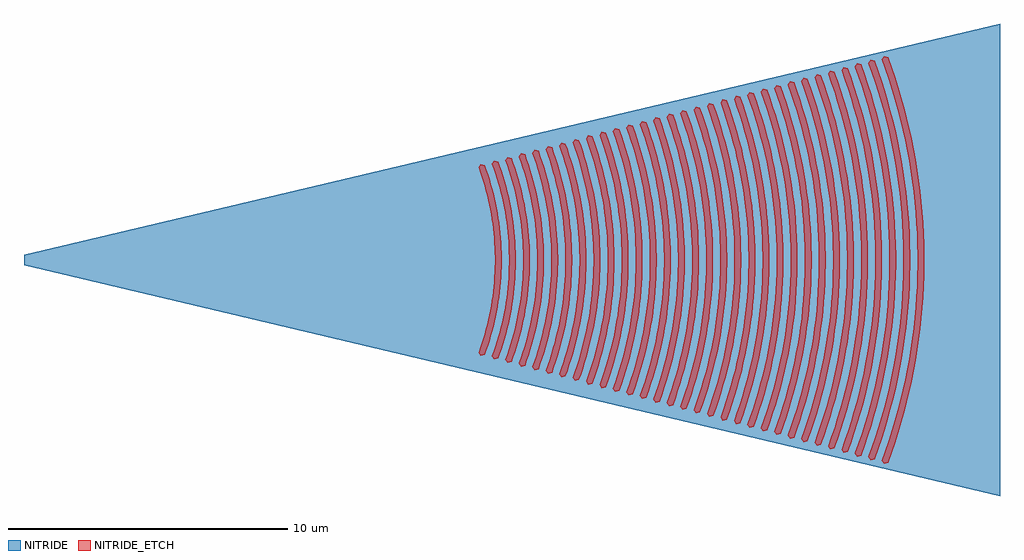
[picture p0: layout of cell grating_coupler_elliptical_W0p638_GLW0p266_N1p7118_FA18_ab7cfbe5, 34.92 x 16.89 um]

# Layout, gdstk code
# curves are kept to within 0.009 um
import gdstk
lib = gdstk.Library(unit=1e-6, precision=1e-09)
def P(c, l, *ps):  # polygons
    for p in ps: c.add(gdstk.Polygon(p, *l))
NITRIDE = (203, 0)
NITRIDE_ETCH = (204, 0)

grating_coupler_elliptic = lib.new_cell('grating_coupler_elliptical_W0p638_GLW0p266_N1p7118_FA18_ab7cfbe5')
P(grating_coupler_elliptic, NITRIDE, [(31.053,-8.447),(-3.867,-0.18),(-3.867,0.18),(31.053,8.447)])
P(grating_coupler_elliptic, NITRIDE_ETCH, [(12.48,-3.425),(12.395,-3.31),(12.612,-2.649),(12.701,-2.315),(12.813,-1.807),(12.897,-1.294),(12.938,-0.95),(12.966,-0.606),(12.985,-0.087),(12.966,0.606),(12.897,1.294),(12.813,1.807),(12.701,2.315),(12.562,2.815),(12.395,3.31),(12.48,3.425),(12.619,3.39),(12.79,2.885),(12.973,2.198),(13.078,1.676),(13.155,1.15),(13.204,0.62),(13.223,0.089),(13.213,-0.443),(13.174,-0.974),(13.108,-1.501),(13.011,-2.026),(12.84,-2.715),(12.619,-3.39)],
  [(12.962,-3.554),(12.877,-3.439),(12.995,-3.097),(13.149,-2.578),(13.275,-2.054),(13.343,-1.7),(13.44,-0.987),(13.479,-0.45),(13.489,-0.09),(13.469,0.628),(13.398,1.344),(13.31,1.876),(13.195,2.404),(13.049,2.925),(12.877,3.439),(12.962,3.554),(13.101,3.519),(13.277,2.995),(13.468,2.282),(13.577,1.74),(13.657,1.194),(13.707,0.644),(13.727,0.092),(13.717,-0.46),(13.676,-1.011),(13.607,-1.558),(13.507,-2.102),(13.329,-2.818),(13.101,-3.519)],
  [(13.444,-3.683),(13.358,-3.568),(13.537,-3.035),(13.688,-2.494),(13.771,-2.131),(13.871,-1.58),(13.958,-0.838),(13.993,-0.093),(13.972,0.652),(13.898,1.395),(13.807,1.948),(13.688,2.494),(13.537,3.035),(13.358,3.568),(13.444,3.683),(13.582,3.648),(13.765,3.105),(13.963,2.365),(14.075,1.804),(14.158,1.238),(14.21,0.668),(14.231,0.095),(14.22,-0.476),(14.178,-1.048),(14.107,-1.616),(14.003,-2.179),(13.819,-2.921),(13.582,-3.648)],
  [(13.924,-3.812),(13.839,-3.697),(13.966,-3.329),(14.132,-2.772),(14.267,-2.207),(14.371,-1.637),(14.461,-0.869),(14.497,-0.097),(14.486,0.483),(14.461,0.869),(14.371,1.637),(14.267,2.207),(14.132,2.772),(13.966,3.329),(13.839,3.697),(13.924,3.812),(14.063,3.777),(14.252,3.214),(14.457,2.45),(14.574,1.868),(14.659,1.281),(14.713,0.691),(14.735,0.099),(14.724,-0.493),(14.681,-1.085),(14.607,-1.673),(14.499,-2.257),(14.308,-3.024),(14.063,-3.777)],
  [(14.405,-3.94),(14.32,-3.825),(14.452,-3.445),(14.623,-2.868),(14.763,-2.285),(14.87,-1.694),(14.964,-0.899),(15.001,-0.1),(14.979,0.699),(14.947,1.098),(14.87,1.694),(14.763,2.285),(14.623,2.868),(14.452,3.445),(14.32,3.825),(14.405,3.94),(14.544,3.905),(14.74,3.324),(14.952,2.533),(15.072,1.931),(15.161,1.325),(15.217,0.715),(15.239,0.102),(15.228,-0.51),(15.183,-1.122),(15.106,-1.73),(14.995,-2.333),(14.798,-3.128),(14.544,-3.905)],
  [(14.886,-4.069),(14.801,-3.954),(14.999,-3.364),(15.166,-2.764),(15.259,-2.362),(15.37,-1.751),(15.467,-0.929),(15.505,-0.103),(15.482,0.724),(15.449,1.135),(15.37,1.751),(15.259,2.362),(15.166,2.764),(14.999,3.364),(14.801,3.954),(14.886,4.069),(15.025,4.034),(15.287,3.231),(15.491,2.41),(15.606,1.787),(15.685,1.159),(15.72,0.738),(15.743,0.105),(15.731,-0.527),(15.685,-1.159),(15.606,-1.787),(15.491,-2.41),(15.287,-3.231),(15.025,-4.034)],
  [(15.367,-4.198),(15.282,-4.083),(15.487,-3.473),(15.659,-2.855),(15.797,-2.229),(15.869,-1.808),(15.97,-0.959),(16.009,-0.107),(16.005,0.32),(15.97,0.959),(15.869,1.808),(15.797,2.229),(15.659,2.855),(15.487,3.473),(15.282,4.083),(15.367,4.198),(15.506,4.163),(15.776,3.334),(15.987,2.488),(16.105,1.844),(16.164,1.412),(16.223,0.761),(16.247,0.109),(16.243,-0.326),(16.208,-0.979),(16.136,-1.628),(16.031,-2.273),(15.835,-3.124),(15.579,-3.958),(15.506,-4.163)],
  [(15.848,-4.327),(15.763,-4.212),(15.908,-3.793),(16.097,-3.158),(16.251,-2.515),(16.369,-1.865),(16.472,-0.989),(16.512,-0.11),(16.488,0.77),(16.453,1.209),(16.369,1.865),(16.251,2.515),(16.097,3.158),(15.908,3.793),(15.763,4.212),(15.848,4.327),(15.987,4.292),(16.266,3.437),(16.483,2.565),(16.605,1.901),(16.665,1.456),(16.726,0.786),(16.75,0.112),(16.738,-0.561),(16.689,-1.233),(16.605,-1.901),(16.483,-2.565),(16.266,-3.437),(15.987,-4.292)],
  [(16.329,-4.456),(16.244,-4.341),(16.462,-3.692),(16.645,-3.035),(16.747,-2.593),(16.869,-1.922),(16.931,-1.472),(16.975,-1.02),(17.016,-0.114),(16.992,0.793),(16.931,1.472),(16.869,1.922),(16.747,2.593),(16.645,3.035),(16.462,3.692),(16.244,4.341),(16.329,4.456),(16.468,4.421),(16.755,3.54),(16.979,2.641),(17.105,1.958),(17.167,1.5),(17.23,0.809),(17.254,0.116),(17.242,-0.577),(17.213,-1.04),(17.138,-1.729),(17.025,-2.414),(16.818,-3.317),(16.62,-3.983),(16.468,-4.421)],
  [(16.81,-4.585),(16.725,-4.47),(16.949,-3.802),(17.138,-3.125),(17.289,-2.44),(17.368,-1.979),(17.478,-1.05),(17.508,-0.584),(17.52,-0.117),(17.495,0.817),(17.458,1.283),(17.368,1.979),(17.289,2.44),(17.138,3.125),(16.949,3.802),(16.725,4.47),(16.81,4.585),(16.949,4.55),(17.029,4.326),(17.309,3.414),(17.475,2.718),(17.604,2.015),(17.694,1.307),(17.746,0.594),(17.758,0.119),(17.746,-0.594),(17.716,-1.07),(17.638,-1.779),(17.523,-2.484),(17.309,-3.414),(17.029,-4.326),(16.949,-4.55)],
  [(17.291,-4.714),(17.206,-4.599),(17.437,-3.912),(17.631,-3.215),(17.739,-2.746),(17.868,-2.036),(17.981,-1.08),(18.024,-0.12),(18.02,0.361),(17.981,1.08),(17.868,2.036),(17.739,2.746),(17.631,3.215),(17.437,3.912),(17.206,4.599),(17.291,4.714),(17.43,4.679),(17.512,4.448),(17.665,3.982),(17.8,3.51),(17.971,2.794),(18.104,2.072),(18.196,1.344),(18.236,0.855),(18.262,0.122),(18.258,-0.367),(18.219,-1.1),(18.139,-1.83),(18.02,-2.555),(17.919,-3.035),(17.8,-3.51),(17.591,-4.216),(17.43,-4.679)],
  [(17.772,-4.842),(17.687,-4.727),(17.85,-4.258),(18.062,-3.545),(18.235,-2.822),(18.328,-2.337),(18.462,-1.357),(18.515,-0.618),(18.528,-0.124),(18.524,0.371),(18.501,0.864),(18.462,1.357),(18.367,2.093),(18.235,2.822),(18.062,3.545),(17.85,4.258),(17.687,4.727),(17.772,4.842),(17.911,4.807),(17.995,4.571),(18.153,4.091),(18.292,3.607),(18.467,2.872),(18.603,2.129),(18.671,1.631),(18.739,0.88),(18.766,0.126),(18.762,-0.377),(18.721,-1.131),(18.639,-1.88),(18.517,-2.625),(18.292,-3.607),(18.076,-4.332),(17.911,-4.807)],
  [(18.253,-4.971),(18.168,-4.856),(18.335,-4.374),(18.553,-3.642),(18.731,-2.9),(18.827,-2.401),(18.964,-1.394),(19.019,-0.635),(19.032,-0.127),(19.028,0.381),(19.005,0.887),(18.964,1.394),(18.867,2.15),(18.731,2.9),(18.617,3.395),(18.412,4.131),(18.168,4.856),(18.253,4.971),(18.392,4.936),(18.479,4.693),(18.64,4.201),(18.783,3.704),(18.963,2.948),(19.103,2.186),(19.2,1.418),(19.243,0.903),(19.27,0.129),(19.257,-0.645),(19.224,-1.161),(19.14,-1.931),(19.014,-2.696),(18.908,-3.202),(18.783,-3.704),(18.561,-4.448),(18.392,-4.936)],
  [(18.734,-5.1),(18.649,-4.985),(18.9,-4.241),(19.11,-3.485),(19.227,-2.976),(19.367,-2.207),(19.438,-1.69),(19.489,-1.171),(19.522,-0.652),(19.536,-0.13),(19.532,0.391),(19.508,0.912),(19.438,1.69),(19.367,2.207),(19.227,2.976),(19.11,3.485),(18.9,4.241),(18.649,4.985),(18.734,5.1),(18.873,5.065),(18.962,4.816),(19.203,4.056),(19.34,3.543),(19.459,3.026),(19.603,2.243),(19.674,1.718),(19.746,0.926),(19.774,0.132),(19.77,-0.397),(19.727,-1.191),(19.641,-1.981),(19.512,-2.765),(19.402,-3.285),(19.274,-3.8),(19.047,-4.564),(18.873,-5.065)],
  [(19.215,-5.229),(19.13,-5.114),(19.306,-4.606),(19.535,-3.835),(19.723,-3.054),(19.824,-2.528),(19.905,-1.999),(19.968,-1.468),(20.026,-0.667),(20.04,-0.134),(20.036,0.401),(19.992,1.201),(19.939,1.734),(19.866,2.264),(19.723,3.054),(19.603,3.575),(19.387,4.35),(19.13,5.114),(19.215,5.229),(19.354,5.194),(19.445,4.938),(19.615,4.42),(19.765,3.897),(19.955,3.102),(20.058,2.568),(20.175,1.762),(20.249,0.951),(20.278,0.136),(20.274,-0.407),(20.23,-1.221),(20.141,-2.031),(20.009,-2.836),(19.897,-3.369),(19.765,-3.897),(19.532,-4.68),(19.354,-5.194)],
  [(19.696,-5.358),(19.611,-5.243),(19.792,-4.722),(20.027,-3.932),(20.219,-3.13),(20.322,-2.592),(20.406,-2.05),(20.47,-1.505),(20.529,-0.685),(20.544,-0.137),(20.539,0.411),(20.514,0.958),(20.441,1.778),(20.366,2.321),(20.219,3.13),(20.027,3.932),(19.792,4.722),(19.611,5.243),(19.696,5.358),(19.835,5.323),(19.929,5.061),(20.103,4.53),(20.257,3.994),(20.451,3.18),(20.602,2.357),(20.677,1.806),(20.752,0.974),(20.782,0.139),(20.777,-0.417),(20.732,-1.252),(20.642,-2.082),(20.506,-2.906),(20.327,-3.724),(20.182,-4.262),(20.018,-4.796),(19.835,-5.323)],
  [(20.177,-5.487),(20.092,-5.372),(20.277,-4.838),(20.518,-4.028),(20.715,-3.207),(20.821,-2.656),(20.906,-2.1),(20.973,-1.542),(21.033,-0.702),(21.048,-0.14),(21.043,0.421),(21.018,0.982),(20.973,1.542),(20.865,2.378),(20.715,3.207),(20.589,3.756),(20.362,4.569),(20.092,5.372),(20.177,5.487),(20.316,5.452),(20.412,5.183),(20.59,4.639),(20.748,4.09),(20.947,3.257),(21.101,2.414),(21.209,1.566),(21.256,0.998),(21.286,0.142),(21.271,-0.712),(21.235,-1.282),(21.142,-2.132),(21.004,-2.976),(20.886,-3.536),(20.748,-4.09),(20.503,-4.912),(20.316,-5.452)],
  [(20.658,-5.616),(20.573,-5.501),(20.763,-4.954),(21.009,-4.125),(21.211,-3.284),(21.319,-2.719),(21.407,-2.15),(21.475,-1.579),(21.537,-0.719),(21.552,-0.144),(21.547,0.431),(21.521,1.005),(21.475,1.579),(21.365,2.435),(21.211,3.284),(21.009,4.125),(20.763,4.954),(20.573,5.501),(20.658,5.616),(20.797,5.581),(20.895,5.306),(21.078,4.749),(21.239,4.187),(21.443,3.334),(21.601,2.471),(21.711,1.603),(21.775,0.729),(21.79,0.146),(21.775,-0.729),(21.738,-1.312),(21.643,-2.182),(21.501,-3.047),(21.313,-3.904),(21.16,-4.469),(20.989,-5.028),(20.797,-5.581)],
  [(21.139,-5.744),(21.054,-5.629),(21.248,-5.07),(21.5,-4.221),(21.707,-3.362),(21.818,-2.783),(21.907,-2.201),(21.977,-1.616),(22.04,-0.736),(22.056,-0.147),(22.051,0.442),(22.003,1.323),(21.945,1.909),(21.865,2.492),(21.707,3.362),(21.575,3.936),(21.337,4.789),(21.054,5.629),(21.139,5.744),(21.278,5.709),(21.378,5.428),(21.65,4.572),(21.805,3.994),(21.939,3.41),(22.101,2.528),(22.181,1.937),(22.262,1.044),(22.294,0.149),(22.289,-0.448),(22.241,-1.343),(22.143,-2.233),(21.998,-3.117),(21.805,-3.994),(21.65,-4.572),(21.474,-5.144),(21.278,-5.709)],
  [(21.621,-5.873),(21.536,-5.758),(21.734,-5.186),(21.992,-4.318),(22.203,-3.438),(22.316,-2.847),(22.408,-2.251),(22.479,-1.653),(22.544,-0.752),(22.56,-0.151),(22.555,0.452),(22.506,1.353),(22.446,1.952),(22.364,2.549),(22.203,3.438),(21.992,4.318),(21.734,5.186),(21.536,5.758),(21.621,5.873),(21.76,5.838),(21.862,5.551),(22.053,4.968),(22.222,4.38),(22.435,3.488),(22.6,2.585),(22.715,1.677),(22.782,0.764),(22.798,0.153),(22.793,-0.458),(22.744,-1.373),(22.644,-2.283),(22.496,-3.187),(22.299,-4.084),(22.139,-4.675),(21.96,-5.26),(21.76,-5.838)],
  [(22.102,-6.002),(22.017,-5.887),(22.219,-5.302),(22.483,-4.415),(22.699,-3.515),(22.815,-2.911),(22.909,-2.302),(22.981,-1.69),(23.031,-1.077),(23.064,-0.154),(23.059,0.462),(23.031,1.077),(22.948,1.996),(22.864,2.607),(22.699,3.515),(22.561,4.116),(22.312,5.008),(22.017,5.887),(22.102,6.002),(22.241,5.967),(22.345,5.673),(22.54,5.078),(22.713,4.477),(22.931,3.565),(23.1,2.643),(23.184,2.024),(23.269,1.091),(23.302,0.156),(23.297,-0.468),(23.246,-1.403),(23.145,-2.334),(22.993,-3.258),(22.864,-3.87),(22.713,-4.477),(22.445,-5.376),(22.241,-5.967)],
  [(22.583,-6.131),(22.498,-6.016),(22.8,-5.118),(22.974,-4.511),(23.195,-3.592),(23.313,-2.974),(23.409,-2.352),(23.483,-1.727),(23.534,-1.1),(23.568,-0.157),(23.563,0.472),(23.534,1.1),(23.449,2.04),(23.363,2.664),(23.195,3.592),(23.054,4.206),(22.8,5.118),(22.498,6.016),(22.583,6.131),(22.722,6.096),(22.828,5.796),(23.028,5.188),(23.204,4.573),(23.427,3.642),(23.599,2.7),(23.685,2.068),(23.772,1.116),(23.806,0.159),(23.801,-0.478),(23.749,-1.433),(23.645,-2.384),(23.49,-3.328),(23.284,-4.264),(23.118,-4.881),(22.931,-5.492),(22.722,-6.096)],
  [(23.064,-6.26),(22.979,-6.145),(23.19,-5.534),(23.465,-4.608),(23.691,-3.67),(23.812,-3.038),(23.91,-2.402),(23.986,-1.764),(24.055,-0.803),(24.072,-0.161),(24.055,0.803),(24.014,1.444),(23.951,2.083),(23.863,2.721),(23.691,3.67),(23.547,4.296),(23.287,5.227),(22.979,6.145),(23.064,6.26),(23.203,6.225),(23.312,5.918),(23.608,4.984),(23.777,4.354),(23.923,3.718),(24.099,2.757),(24.187,2.111),(24.275,1.139),(24.31,0.163),(24.293,-0.813),(24.252,-1.464),(24.146,-2.434),(23.987,-3.398),(23.777,-4.354),(23.608,-4.984),(23.416,-5.608),(23.203,-6.225)],
  [(23.545,-6.389),(23.46,-6.274),(23.676,-5.651),(23.957,-4.705),(24.187,-3.746),(24.31,-3.102),(24.41,-2.453),(24.488,-1.801),(24.558,-0.82),(24.576,-0.164),(24.57,0.492),(24.517,1.474),(24.452,2.127),(24.363,2.778),(24.187,3.746),(23.957,4.705),(23.676,5.651),(23.46,6.274),(23.545,6.389),(23.684,6.354),(23.902,5.725),(24.187,4.767),(24.419,3.796),(24.599,2.814),(24.724,1.825),(24.778,1.162),(24.814,0.166),(24.808,-0.498),(24.755,-1.494),(24.646,-2.485),(24.485,-3.469),(24.347,-4.121),(24.187,-4.767),(23.902,-5.725),(23.684,-6.354)],
  [(24.026,-6.517),(23.941,-6.402),(24.161,-5.767),(24.448,-4.801),(24.61,-4.15),(24.809,-3.165),(24.911,-2.503),(24.99,-1.838),(25.062,-0.837),(25.08,-0.167),(25.074,0.502),(25.044,1.17),(24.99,1.838),(24.862,2.835),(24.682,3.823),(24.532,4.476),(24.262,5.446),(23.941,6.402),(24.026,6.517),(24.165,6.482),(24.387,5.841),(24.678,4.863),(24.842,4.204),(24.982,3.54),(25.147,2.535),(25.226,1.862),(25.282,1.186),(25.318,0.169),(25.3,-0.847),(25.257,-1.524),(25.147,-2.535),(24.982,-3.54),(24.842,-4.204),(24.678,-4.863),(24.387,-5.841),(24.165,-6.482)],
  [(24.507,-6.646),(24.422,-6.531),(24.647,-5.883),(24.939,-4.898),(25.178,-3.9),(25.307,-3.229),(25.411,-2.554),(25.492,-1.875),(25.566,-0.854),(25.584,-0.171),(25.578,0.512),(25.547,1.194),(25.455,2.215),(25.362,2.892),(25.178,3.9),(25.025,4.567),(24.75,5.556),(24.422,6.531),(24.507,6.646),(24.646,6.611),(24.873,5.957),(25.169,4.96),(25.41,3.95),(25.598,2.928),(25.691,2.243),(25.785,1.21),(25.822,0.173),(25.804,-0.864),(25.76,-1.555),(25.647,-2.586),(25.479,-3.609),(25.336,-4.288),(25.169,-4.96),(24.873,-5.957),(24.646,-6.611)],
  [(24.988,-6.775),(24.903,-6.66),(25.132,-5.999),(25.43,-4.995),(25.599,-4.317),(25.806,-3.293),(25.912,-2.604),(25.994,-1.912),(26.069,-0.871),(26.088,-0.174),(26.082,0.522),(26.025,1.565),(25.956,2.258),(25.862,2.949),(25.743,3.635),(25.518,4.657),(25.237,5.666),(24.903,6.66),(24.988,6.775),(25.127,6.74),(25.358,6.073),(25.66,5.057),(25.831,4.371),(25.977,3.681),(26.098,2.985),(26.23,1.936),(26.288,1.232),(26.326,0.176),(26.32,-0.528),(26.263,-1.585),(26.148,-2.636),(25.977,-3.681),(25.831,-4.371),(25.66,-5.057),(25.358,-6.073),(25.127,-6.74)],
  [(25.469,-6.904),(25.384,-6.789),(25.618,-6.115),(25.922,-5.091),(26.17,-4.054),(26.304,-3.357),(26.413,-2.654),(26.496,-1.949),(26.573,-0.887),(26.592,-0.178),(26.586,0.533),(26.528,1.595),(26.458,2.302),(26.361,3.006),(26.17,4.054),(25.922,5.091),(25.618,6.115),(25.384,6.789),(25.469,6.904),(25.608,6.869),(25.844,6.189),(26.055,5.5),(26.242,4.805),(26.474,3.75),(26.649,2.686),(26.732,1.973),(26.811,0.897),(26.83,0.18),(26.824,-0.539),(26.766,-1.615),(26.649,-2.686),(26.474,-3.75),(26.242,-4.805),(26.055,-5.5),(25.844,-6.189),(25.608,-6.869)],
  [(25.95,-7.033),(25.865,-6.918),(26.213,-5.885),(26.413,-5.188),(26.666,-4.131),(26.803,-3.42),(26.913,-2.705),(26.999,-1.986),(27.057,-1.264),(27.096,-0.181),(27.09,0.543),(27.057,1.264),(26.999,1.986),(26.861,3.063),(26.666,4.131),(26.504,4.837),(26.213,5.885),(25.865,6.918),(25.95,7.033),(26.089,6.998),(26.441,5.955),(26.734,4.895),(26.971,3.822),(27.097,3.099),(27.235,2.01),(27.295,1.28),(27.334,0.183),(27.314,-0.914),(27.235,-2.01),(27.097,-3.099),(26.971,-3.822),(26.734,-4.895),(26.441,-5.955),(26.089,-6.998)],
  [(26.431,-7.162),(26.346,-7.047),(26.589,-6.347),(26.904,-5.285),(27.083,-4.568),(27.301,-3.484),(27.414,-2.755),(27.501,-2.023),(27.58,-0.921),(27.6,-0.184),(27.593,0.553),(27.56,1.288),(27.501,2.023),(27.36,3.12),(27.235,3.847),(26.997,4.927),(26.7,5.995),(26.346,7.047),(26.431,7.162),(26.57,7.127),(26.928,6.065),(27.227,4.985),(27.469,3.891),(27.65,2.787),(27.737,2.047),(27.798,1.304),(27.838,0.186),(27.818,-0.931),(27.771,-1.676),(27.65,-2.787),(27.469,-3.891),(27.227,-4.985),(26.928,-6.065),(26.57,-7.127)],
  [(26.912,-7.291),(26.827,-7.176),(27.188,-6.104),(27.396,-5.381),(27.658,-4.285),(27.8,-3.548),(27.914,-2.805),(28.003,-2.06),(28.084,-0.938),(28.104,-0.188),(28.084,0.938),(28.036,1.686),(27.962,2.433),(27.86,3.177),(27.658,4.285),(27.396,5.381),(27.188,6.104),(26.827,7.176),(26.912,7.291),(27.051,7.256),(27.416,6.174),(27.72,5.075),(27.966,3.962),(28.096,3.213),(28.239,2.084),(28.322,0.948),(28.342,0.19),(28.322,-0.948),(28.274,-1.706),(28.15,-2.837),(27.966,-3.962),(27.72,-5.075),(27.416,-6.174),(27.051,-7.256)])

lib.write_gds('grating_coupler_elliptical_W0p638_GLW0p266_N1p7118_FA18_ab7cfbe5.gds')
